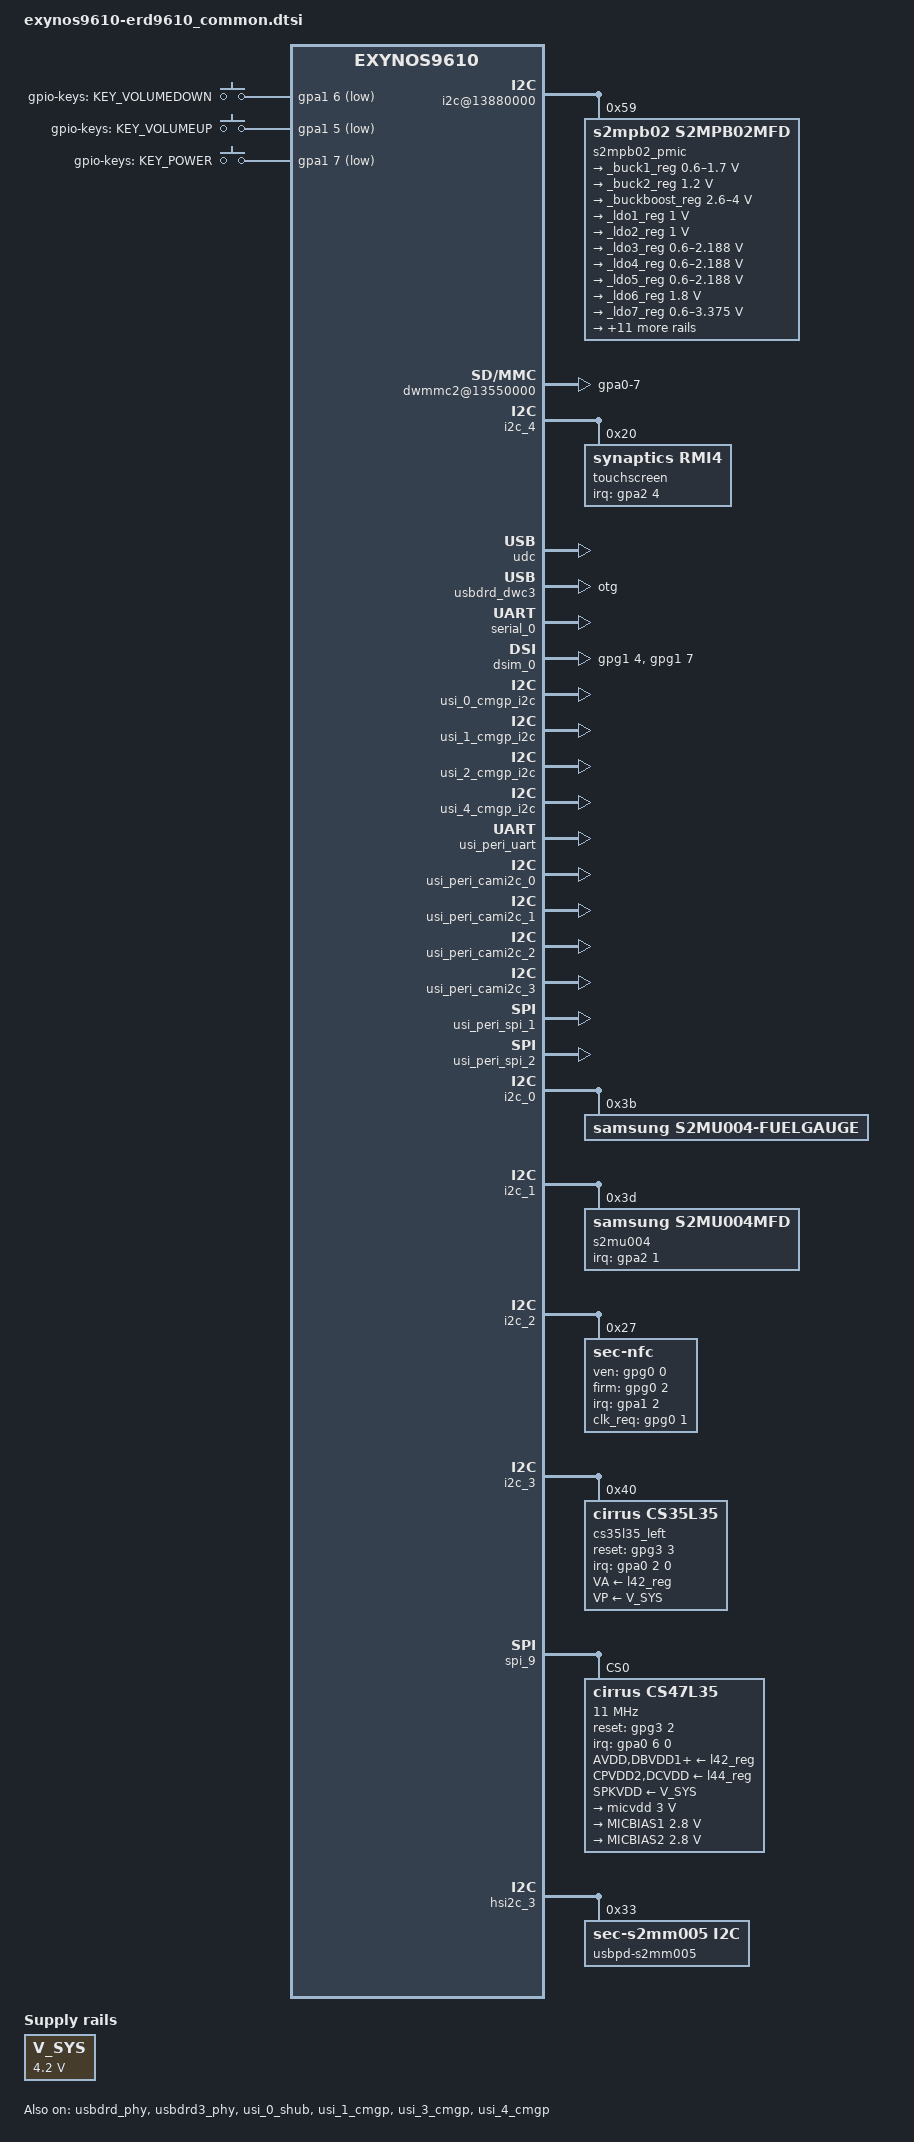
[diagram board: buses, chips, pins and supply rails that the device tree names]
/*
 * SAMSUNG EXYNOS9610 board device tree source
 *
 * Copyright (c) 2017 Samsung Electronics Co., Ltd.
 *		http://www.samsung.com
 *
 * This program is free software; you can redistribute it and/or modify
 * it under the terms of the GNU General Public License version 2 as
 * published by the Free Software Foundation.
 */

#include "exynos9610_battery_data.dtsi"
#include <dt-bindings/clock/exynos9610.h>
#include "modem-ss360ap-sit-pdata.dtsi"
#include "exynos9610-display-lcd.dtsi"
#include "exynos9610-erd9610-camera.dtsi"

/ {
	fragment@common {
		target-path = "/";
		__overlay__ {
			#address-cells = <2>;
			#size-cells = <1>;

			fixed-rate-clocks {
				oscclk {
					compatible = "samsung,exynos9610-oscclk";
					clock-frequency = <26000000>;
				};
			};

			firmware {
				android {
					compatible = "android,firmware";
					vbmeta {
						compatible = "android,vbmeta";
						parts = "vbmeta,boot,system,vendor,dtbo";
					};
					fstab {
						compatible = "android,fstab";
						vendor {
							compatible = "android,vendor";
							dev = "/dev/block/platform/13520000.ufs/by-name/vendor";
							type = "ext4";
							mnt_flags = "ro";
							fsmgr_flags = "wait,avb,slotselect";
						};
					};
				};
			};

			ifconn {
				status = "okay";
				compatible = "samsung,ifconn";
				ifconn,usbpd = "s2mm005";
				ifconn,muic = "s2mu004-muic";
			};

			speedy@11a10000 {
				status = "okay";
				#address-cells = <1>;
				#size-cells = <0>;
				s2mpu09mfd@00 {
					compatible = "samsung,s2mpu09mfd";
					acpm-ipc-channel = <2>;
					i2c-speedy-address;
					s2mpu09,wakeup = "enabled";
					s2mpu09,irq-gpio = <&gpa2 0 0>;
					reg = <0x00>;
					interrupts = <2 0 0>;
					interrupt-parent = <&gpa2>;
					pinctrl-names = "default";
					pinctrl-0 = <&pmic_irq &pm_wrsti>;
					/* RTC: wtsr/smpl */
					wtsr_en = "enabled"; /* enable */
					smpl_en = "enabled"; /* enable */
					wtsr_timer_val = <3>;	/* 1000ms */
					smpl_timer_val = <4>;	/* 500ms */
					check_jigon = <0>; /* do not check jigon */
					/* RTC: If it's first boot, reset rtc to 1/1/2017 12:00:00(Sun) */
					init_time,sec = <0>;
					init_time,min = <0>;
					init_time,hour = <12>;
					init_time,mday = <1>;
					init_time,mon = <0>;
					init_time,year = <117>;
					init_time,wday = <0>;

					regulators {
						b1_reg: BUCK1 {
							regulator-name = "vdd_mif";
							regulator-min-microvolt = <500000>;
							regulator-max-microvolt = <1100000>;
							regulator-always-on;
							regulator-ramp-delay = <12000>;
							regulator-initial-mode = <2>;
						};

						b2_reg: BUCK2 {
							regulator-name = "vdd_cpucl1";
							regulator-min-microvolt = <500000>;
							regulator-max-microvolt = <1300000>;
							regulator-always-on;
							regulator-ramp-delay = <12000>;
							regulator-initial-mode = <1>;
						};

						b3_reg: BUCK3 {
							regulator-name = "vdd_cpucl0";
							regulator-min-microvolt = <500000>;
							regulator-max-microvolt = <1300000>;
							regulator-always-on;
							regulator-ramp-delay = <12000>;
							regulator-initial-mode = <1>;
						};

						b4_reg: BUCK4{
							regulator-name = "vdd_int";
							regulator-min-microvolt = <500000>;
							regulator-max-microvolt = <1100000>;
							regulator-always-on;
							regulator-ramp-delay = <12000>;
							regulator-initial-mode = <2>;
						};

						b5_reg: BUCK5 {
							regulator-name = "vdd_g3d";
							regulator-min-microvolt = <500000>;
							regulator-max-microvolt = <1200000>;
							regulator-always-on;
							regulator-ramp-delay = <12000>;
							regulator-initial-mode = <2>;
						};

						b6_reg: BUCK6 {
							regulator-name = "vdd_cam_vipx";
							regulator-min-microvolt = <500000>;
							regulator-max-microvolt = <1300000>;
							regulator-always-on;
							regulator-ramp-delay = <12000>;
							regulator-initial-mode = <2>;
						};

						b7_reg: BUCK7 {
							regulator-name = "vdd2_mem";
							regulator-min-microvolt = <500000>;
							regulator-max-microvolt = <1300000>;
							regulator-always-on;
							regulator-ramp-delay = <12000>;
							regulator-initial-mode = <3>;
						};

						b8_reg: BUCK8 {
							regulator-name = "vdd_lldo";
							regulator-min-microvolt = <1200000>;
							regulator-max-microvolt = <1500000>;
							regulator-always-on;
							regulator-ramp-delay = <12000>;
							regulator-initial-mode = <3>;
						};

						b9_reg: BUCK9 {
							regulator-name = "vdd_mldo";
							regulator-min-microvolt = <1800000>;
							regulator-max-microvolt = <2100000>;
							regulator-always-on;
							regulator-ramp-delay = <12000>;
							regulator-initial-mode = <3>;
						};

						l1_reg: LDO1 {
							regulator-name = "vdd_ldo1";
							regulator-min-microvolt = <700000>;
							regulator-max-microvolt = <1300000>;
							regulator-always-on;
							regulator-ramp-delay = <12000>;
							regulator-initial-mode = <3>;
						};

						l2_reg: LDO2 {
							regulator-name = "vqmmc";
							regulator-min-microvolt = <1800000>;
							regulator-max-microvolt = <3375000>;
							regulator-ramp-delay = <12000>;
						};

						l3_reg: LDO3 {
							regulator-name = "vdd_ldo3";
							regulator-min-microvolt = <800000>;
							regulator-max-microvolt = <1950000>;
							regulator-always-on;
							regulator-ramp-delay = <12000>;
							regulator-initial-mode = <3>;
						};

						l4_reg: LDO4 {
							regulator-name = "vdd_ldo4";
							regulator-min-microvolt = <500000>;
							regulator-max-microvolt = <1100000>;
							regulator-always-on;
							regulator-ramp-delay = <12000>;
							regulator-initial-mode = <1>;
						};

						l5_reg: LDO5 {
							regulator-name = "vdd_ldo5";
							regulator-min-microvolt = <800000>;
							regulator-max-microvolt = <1300000>;
							regulator-always-on;
							regulator-ramp-delay = <12000>;
							regulator-initial-mode = <1>;
						};

						l6_reg: LDO6 {
							regulator-name = "vdd_ldo6";
							regulator-min-microvolt = <800000>;
							regulator-max-microvolt = <1300000>;
							regulator-always-on;
							regulator-ramp-delay = <12000>;
							regulator-initial-mode = <1>;
						};

						l7_reg: LDO7 {
							regulator-name = "vdd_ldo7";
							regulator-min-microvolt = <800000>;
							regulator-max-microvolt = <1950000>;
							regulator-always-on;
							regulator-ramp-delay = <12000>;
							regulator-initial-mode = <1>;
						};

						l8_reg: LDO8 {
							regulator-name = "vdd_ldo8";
							regulator-min-microvolt = <500000>;
							regulator-max-microvolt = <1300000>;
							regulator-always-on;
							regulator-ramp-delay = <12000>;
							regulator-initial-mode = <1>;
						};

						l9_reg: LDO9 {
							regulator-name = "vdd_ldo9";
							regulator-min-microvolt = <500000>;
							regulator-max-microvolt = <1300000>;
							regulator-always-on;
							regulator-ramp-delay = <12000>;
							regulator-initial-mode = <1>;
						};

						l10_reg: LDO10 {
							regulator-name = "vdd_ldo10";
							regulator-min-microvolt = <500000>;
							regulator-max-microvolt = <1300000>;
							regulator-always-on;
							regulator-ramp-delay = <12000>;
							regulator-initial-mode = <1>;
						};

						l11_reg: LDO11 {
							regulator-name = "vdd_ldo11";
							regulator-min-microvolt = <500000>;
							regulator-max-microvolt = <1300000>;
							regulator-always-on;
							regulator-ramp-delay = <12000>;
							regulator-initial-mode = <1>;
						};

						l12_reg: LDO12 {
							regulator-name = "vdd_ldo12";
							regulator-min-microvolt = <800000>;
							regulator-max-microvolt = <1300000>;
							regulator-always-on;
							regulator-ramp-delay = <12000>;
							regulator-initial-mode = <1>;
						};

						l13_reg: LDO13 {
							regulator-name = "vdd_ldo13";
							regulator-min-microvolt = <800000>;
							regulator-max-microvolt = <1950000>;
							regulator-always-on;
							regulator-ramp-delay = <12000>;
							regulator-initial-mode = <1>;
						};

						l14_reg: LDO14 {
							regulator-name = "vdd_ldo14";
							regulator-min-microvolt = <1800000>;
							regulator-max-microvolt = <3375000>;
							regulator-always-on;
							regulator-ramp-delay = <12000>;
							regulator-initial-mode = <1>;
						};

						l33_reg: LDO33 {
							regulator-name = "vdd_ldo33";
							regulator-min-microvolt = <800000>;
							regulator-max-microvolt = <1950000>;
							regulator-ramp-delay = <12000>;
						};

						l34_reg: LDO34 {
							regulator-name = "vdd_ldo34";
							regulator-min-microvolt = <1800000>;
							regulator-max-microvolt = <3375000>;
							regulator-ramp-delay = <12000>;
						};

						l35_reg: LDO35 {
							regulator-name = "vmmc";
							regulator-min-microvolt = <1800000>;
							regulator-max-microvolt = <3375000>;
							regulator-ramp-delay = <12000>;
						};

						l36_reg: LDO36 {
							regulator-name = "vdd_ldo36";
							regulator-min-microvolt = <500000>;
							regulator-max-microvolt = <1300000>;
							regulator-always-on;
							regulator-ramp-delay = <12000>;
							regulator-initial-mode = <1>;
						};

						l37_reg: LDO37 {
							regulator-name = "vdd_ldo37";
							regulator-min-microvolt = <1620000>;
							regulator-max-microvolt = <1900000>;
							regulator-ramp-delay = <12000>;
							regulator-always-on;
						};

						l38_reg: LDO38 {
							regulator-name = "vdd_ldo38";
							regulator-min-microvolt = <1800000>;
							regulator-max-microvolt = <3375000>;
							regulator-ramp-delay = <12000>;
							regulator-always-on;
						};

						l39_reg: LDO39 {
							regulator-name = "vdd_ldo39";
							regulator-min-microvolt = <800000>;
							regulator-max-microvolt = <1950000>;
							regulator-ramp-delay = <12000>;
							regulator-always-on;
						};

						l40_reg: LDO40 {
							regulator-name = "vdd_ldo40";
							regulator-min-microvolt = <1800000>;
							regulator-max-microvolt = <3375000>;
							regulator-ramp-delay = <12000>;
							regulator-initial-mode = <3>;
							regulator-always-on;
						};

						l41_reg: LDO41 {
							regulator-name = "vdd_ldo41";
							regulator-min-microvolt = <1800000>;
							regulator-max-microvolt = <3375000>;
							regulator-ramp-delay = <12000>;
						};

						l42_reg: LDO42 {
							regulator-name = "vdd_ldo42";
							regulator-min-microvolt = <800000>;
							regulator-max-microvolt = <1950000>;
							regulator-ramp-delay = <12000>;
						};

						l43_reg: LDO43 {
							regulator-name = "vdd_ldo43";
							regulator-min-microvolt = <500000>;
							regulator-max-microvolt = <1300000>;
							regulator-always-on;
							regulator-ramp-delay = <12000>;
							regulator-initial-mode = <1>;
						};

						l44_reg: LDO44 {
							regulator-name = "vdd_ldo44";
							regulator-min-microvolt = <800000>;
							regulator-max-microvolt = <1300000>;
							regulator-ramp-delay = <12000>;
						};
					};
				};
			};

			i2c@13880000 {
				status = "okay";
				#address-cells = <1>;
				#size-cells = <0>;
				s2mpb02_pmic@59 {
					compatible = "s2mpb02,s2mpb02mfd";
					reg = <0x59>;

					s2mpb02,wakeup;
					pinctrl-names = "default";
					pinctrl-0 = <&sub_pmic_irq>;

					regulators {
						_buck1_reg: s2mpb02-buck1 {
							regulator-name = "VDD_EXT_1P3_PB03";
							regulator-min-microvolt = <600000>;
							regulator-max-microvolt = <1700000>;
							regulator-always-on;
							regulator-boot-on;
						};

						_buck2_reg: s2mpb02-buck2 {
							regulator-name = "SVDDD_1.2V";
							regulator-min-microvolt = <1200000>;
							regulator-max-microvolt = <1200000>;
						};

						_buckboost_reg: s2mpb02-bb {
							regulator-name = "VREG_BOOST_BYP";
							regulator-min-microvolt = <2600000>;
							regulator-max-microvolt = <4000000>;
							regulator-always-on;
							regulator-boot-on;
						};

						_ldo1_reg: s2mpb02-ldo1 {
							regulator-name = "VDDD_1.0V_CAM_T";
							regulator-min-microvolt = <1000000>;
							regulator-max-microvolt = <1000000>;
						};

						_ldo2_reg: s2mpb02-ldo2 {
							regulator-name = "VDDD_1.0V_CAM";
							regulator-min-microvolt = <1000000>;
							regulator-max-microvolt = <1000000>;
						};

						_ldo3_reg: s2mpb02-ldo3 {
							regulator-name = "VDDD_1.05V_SUB";
							regulator-min-microvolt = <600000>;
							regulator-max-microvolt = <2187500>;
						};

						_ldo4_reg: s2mpb02-ldo4 {
							regulator-name = "S2MPB02_LDO4";
							regulator-min-microvolt = <600000>;
							regulator-max-microvolt = <2187500>;
						};

						_ldo5_reg: s2mpb02-ldo5 {
							regulator-name = "VDDD_1.05V_VT";
							regulator-min-microvolt = <600000>;
							regulator-max-microvolt = <2187500>;
						};

						_ldo6_reg: s2mpb02-ldo6 {
							regulator-name = "VDDIO_1.8V_CAM_T";
							regulator-min-microvolt = <1800000>;
							regulator-max-microvolt = <1800000>;
						};

						_ldo7_reg: s2mpb02-ldo7 {
							regulator-name = "VDDIO_1.8V_SUB";
							regulator-min-microvolt = <600000>;
							regulator-max-microvolt = <3375000>;
						};

						_ldo8_reg: s2mpb02-ldo8 {
							regulator-name = "VDDIO_1.8V_CAM";
							regulator-min-microvolt = <1800000>;
							regulator-max-microvolt = <1800000>;
						};

						_ldo9_reg: s2mpb02-ldo9 {
							regulator-name = "DOVDD_VT_CAM_1V8";
							regulator-min-microvolt = <1800000>;
							regulator-max-microvolt = <1800000>;
						};

						_ldo10_reg: s2mpb02-ldo10 {
							regulator-name = "VDDD_1.8V_OIS";
							regulator-min-microvolt = <600000>;
							regulator-max-microvolt = <3375000>;
						};

						_ldo11_reg: s2mpb02-ldo11 {
							regulator-name = "VDDA_2.8V_CAM";
							regulator-min-microvolt = <2800000>;
							regulator-max-microvolt = <2800000>;
						};

						_ldo12_reg: s2mpb02-ldo12 {
							regulator-name = "VDDD_2.8V_OIS";
							regulator-min-microvolt = <2800000>;
							regulator-max-microvolt = <2800000>;
						};

						_ldo13_reg: s2mpb02-ldo13 {
							regulator-name = "VDDA_2.8V_CAM_T";
							regulator-min-microvolt = <2800000>;
							regulator-max-microvolt = <2800000>;
						};

						_ldo14_reg: s2mpb02-ldo14 {
							regulator-name = "VDD_VT_CAM_2V8";
							regulator-min-microvolt = <2800000>;
							regulator-max-microvolt = <2800000>;
						};

						_ldo15_reg: s2mpb02-ldo15 {
							regulator-name = "VDDD_2.8V_OIS_T";
							regulator-min-microvolt = <2800000>;
							regulator-max-microvolt = <2800000>;
						};

						_ldo16_reg: s2mpb02-ldo16 {
							regulator-name = "VDD_2.8V_OIS";
							regulator-min-microvolt = <2800000>;
							regulator-max-microvolt = <2800000>;
						};

						_ldo17_reg: s2mpb02-ldo17 {
							regulator-name = "S2MPB02_LDO17";
							regulator-min-microvolt = <600000>;
							regulator-max-microvolt = <3375000>;
						};

						_ldo18_reg: s2mpb02-ldo18 {
							regulator-name = "VDD_PROXY_LED_3P3";
							regulator-min-microvolt = <600000>;
							regulator-max-microvolt = <3375000>;
						};
					};

					torch {
						torch1-gpio = <&gpg3 1 0x1>;
						flash1-gpio = <&gpg3 0 0x1>;

						status = "okay";

						leds1 {
							ledname = "leds-sec1";
							id = <0>;
							brightness = <0xC>; /* (n+1)x100 : 1300mA */
							timeout = <0x7>; /* (n+1)x62.6 : 500ms */
							torch_table_enable = <0>;
						};

						leds2 {
							ledname = "torch-sec1";
							id = <1>;
							brightness = <0xC>; /* (n+1)x20 = 260mA */
							timeout = <0xF>;
							torch_table_enable = <1>;
							torch_table = <2 4 4 5 6 8 9 10 10 12>;
						};
					};
				};
			};

			exynos_rgt {
				compatible = "samsung,exynos-rgt";
			};

			mailbox_cp: mcu_ipc@11920000 {
				compatible = "samsung,exynos-shd-ipc-mailbox";
				reg = <0x0 0x11920000 0x180>;
				mcu,name = "mcu_ipc_cp";
				mcu,id = <0>;
				interrupts = <0 40 0 >;
			};

			mailbox_gnss: mcu_ipc@11A00000 {
				compatible = "samsung,exynos-shd-ipc-mailbox";
				reg = <0x0 0x11A00000 0x180>;
				mcu,name = "mcu_ipc_gnss";
				mcu,id = <1>;
				interrupts = <0 43 0>; /* INTREQ__MAILBOX_GNSS2AP */
			};

			gnss_pdata {
				status = "okay";

				compatible = "samsung,gnss_shdmem_if";
				shmem,name = "KEPLER";
				shmem,device_node_name = "gnss_ipc";

				/* INTREQ__ALIVE_GNSS_ACTIVE, INTREQ__GNSS2AP_WDOG_RESET, INTREQ__GNSS2AP_WAKEUP, INTREQ__GNSS2AP */
				interrupts = <0 27 0>, <0 81 0>, <0 80 0>, <0 79 0>;
				interrupt-names = "ACTIVE", "WATCHDOG", "WAKEUP", "REQ_INIT";

				memory-region = <&gnss_reserved>;
				mbox_info = <&mailbox_gnss>;

				mbx,int_ap2gnss_bcmd = <0>;
				mbx,int_ap2gnss_req_fault_info = <1>;
				mbx,int_ap2gnss_ipc_msg = <2>;
				mbx,int_ap2gnss_ack_wake_set = <3>;
				mbx,int_ap2gnss_ack_wake_clr = <4>;

				mbx,irq_gnss2ap_bcmd = <0>;
				mbx,irq_gnss2ap_rsp_fault_info = <1>;
				mbx,irq_gnss2ap_ipc_msg = <2>;
				mbx,irq_gnss2ap_req_wake_clr = <4>;

				mbx,reg_bcmd_ctrl = <0>, <1>, <2>, <3>;

				reg_rx_ipc_msg = <1 5>;
				reg_tx_ipc_msg = <1 4>;
				reg_rx_head = <1 3>;
				reg_rx_tail = <1 2>;
				reg_tx_head = <1 1>;
				reg_tx_tail = <1 0>;
				fault_info = <1 0x200000 0x180000>;

				shmem,ipc_offset = <0x380000>;
				shmem,ipc_size = <0x80000>;
				shmem,ipc_reg_cnt = <32>;
			};

			gpio_keys {
				status = "okay";
				compatible = "gpio-keys";
				#address-cells = <1>;
				#size-cells = <0>;
				pinctrl-names = "default";
				pinctrl-0 = <&key_voldown &key_volup &key_power>;
				button@1 {
					label = "gpio-keys: KEY_VOLUMEDOWN";
					linux,code = <114>;
					gpios = <&gpa1 6 0xf>;
				};
				button@2 {
					label = "gpio-keys: KEY_VOLUMEUP";
					linux,code = <115>;
					gpios = <&gpa1 5 0xf>;
				};
				button@3 {
					label = "gpio-keys: KEY_POWER";
					linux,code = <116>;
					gpios = <&gpa1 7 0xf>;
					gpio-key,wakeup = <1>;
				};
			};

			dwmmc2@13550000 {
				status = "okay";
				num-slots = <1>;
				supports-4bit;
				supports-cmd23;
				supports-erase;
				supports-highspeed;
				sd-uhs-sdr50;
				sd-uhs-sdr104;
				card-detect-gpio;
				bypass-for-allpass;
				card-init-hwacg-ctrl;
				skip-init-mmc-scan;
				qos-dvfs-level = <100000>;
				fifo-depth = <0x40>;
				desc-size = <4>;
				card-detect-delay = <200>;
				data-timeout = <200>;
				hto-timeout = <80>;
				samsung,dw-mshc-ciu-div = <3>;
				clock-frequency = <800000000>;
				samsung,dw-mshc-sdr-timing = <3 0 2 0>;
				samsung,dw-mshc-ddr-timing = <3 0 2 1>;
				samsung,dw-mshc-sdr50-timing = <3 0 4 2>;
				samsung,dw-mshc-sdr104-timing = <3 0 3 0>;

				num-ref-clks = <9>;
				ciu_clkin = <25 50 50 25 50 100 200 50 50>;

				/* Swapping clock drive strength */
				clk-drive-number = <4>;
				pinctrl-names = "default",
					"fast-slew-rate-1x",
					"fast-slew-rate-2x",
					"fast-slew-rate-3x",
					"fast-slew-rate-4x";
				pinctrl-0 = <&sd2_clk &sd2_cmd &sd2_bus1 &sd2_bus4 &dwmmc2_cd_ext_irq>;
				pinctrl-1 = <&sd2_clk_fast_slew_rate_1x>;
				pinctrl-2 = <&sd2_clk_fast_slew_rate_2x>;
				pinctrl-3 = <&sd2_clk_fast_slew_rate_3x>;
				pinctrl-4 = <&sd2_clk_fast_slew_rate_4x>;

				card-detect = <&gpa0 7 0xf>;
				#address-cells = <1>;
				#size-cells = <0>;
				slot@0 {
					reg = <0>;
					bus-width = <4>;
					disable-wp;
				};
			};

			i2c_4:i2c@13870000 {
				status = "okay";
				#address-cells = <1>;
				#size-cells = <0>;
				touchscreen@20 {
					compatible = "synaptics,rmi4";
					reg = <0x20>;
					pinctrl-names = "on_state", "off_state";
					pinctrl-0 = <&attn_irq>;
					pinctrl-1 = <&attn_input>;
					synaptics,irq_gpio = <&gpa2 4 0>;
					synaptics,irq_type = <8200>;
					synaptics,max_coords = <1440 2560>;     /* x y */
					synaptics,num_lines = <29 16>;          /* rx tx */
					synaptics,regulator_dvdd = "VDDD_1.8V_OIS";
					synaptics,regulator_avdd = "vdd_ldo41";
				};
			};

			usb_notifier {
				compatible = "samsung,usb-notifier";
				udc = <&udc>;
			};

			usb_hs_tune:usb_hs_tune {
				hs_tune_cnt = <12>;

				/* value = <device host> */
				hs_tune1 {
					tune_name = "tx_vref";
					tune_value = <0xf 0xf>;
				};

				hs_tune2 {
					tune_name = "tx_pre_emp";
					tune_value = <0x3 0x3>;
				};

				hs_tune3 {
					tune_name = "tx_pre_emp_plus";
					tune_value = <0x0 0x0>;
				};

				hs_tune4 {
					tune_name = "tx_res";
					tune_value = <0x3 0x3>;
				};

				hs_tune5 {
					tune_name = "tx_rise";
					tune_value = <0x3 0x3>;
				};

				hs_tune6 {
					tune_name = "tx_hsxv";
					tune_value = <0x3 0x3>;
				};

				hs_tune7 {
					tune_name = "tx_fsls";
					tune_value = <0x3 0x3>;
				};

				hs_tune8 {
					tune_name = "rx_sqrx";
					tune_value = <0x7 0x7>;
				};

				hs_tune9 {
					tune_name = "compdis";
					tune_value = <0x7 0x7>;
				};

				hs_tune10 {
					tune_name = "otg";
					tune_value = <0x2 0x2>;
				};

				hs_tune11 {
				/* true : 1, false: 0 */
				/* <enable_user_imp user_imp_value> */
					tune_name = "enable_user_imp";
					tune_value = <0x0 0x0>;
				};

				hs_tune12 {
				/* PHY clk : 1 , FREE clk : 0 */
					tune_name = "is_phyclock";
					tune_value = <0x1 0x1>;
				};
			};

			usb3_ss_tune:ss_tune {
				ss_tune_cnt = <15>;

				/* value = <device host> */
				ss_tune1 {
					tune_name = "tx0_term_offset";
					tune_value = <0x0 0x0>;
				};

				ss_tune2 {
					tune_name = "pcs_tx_swing_full";
					tune_value = <0x7f 0x7f>;
				};

				ss_tune3 {
					tune_name = "pcs_tx_deemph_6db";
					tune_value = <0x1c 0x1c>;
				};

				ss_tune4 {
					tune_name = "pcs_tx_deemph_3p5db";
					tune_value = <0x1c 0x1c>;
				};

				ss_tune5 {
					tune_name = "tx_vboost_lvl_sstx";
					tune_value = <0x7 0x7>;
				};

				ss_tune6 {
					tune_name = "tx_vboost_lvl";
					tune_value = <0x4 0x4>;
				};

				ss_tune7 {
					tune_name = "los_level";
					tune_value = <0x9 0x9>;
				};

				ss_tune8 {
					tune_name = "los_bias";
					tune_value = <0x5 0x5>;
				};

				ss_tune9 {
					tune_name = "pcs_rx_los_mask_val";
					tune_value = <0x104 0x104>;
				};

				ss_tune10 {
					tune_name = "tx_eye_height_cntl_en";
					tune_value = <0x1 0x1>;
				};

				ss_tune11 {
					tune_name = "pipe_tx_deemph_update_delay";
					tune_value = <0x2 0x2>;
				};

				ss_tune12 {
					tune_name = "pcs_tx_swing_full_sstx";
					tune_value = <0x7f 0x7f>;
				};
				ss_tune13 {
					tune_name = "rx_eq_fix_val";
					tune_value = <0x2 0x2>;
				};

				ss_tune14 {
					tune_name = "rx_decode_mode";
					tune_value = <0x1 0x1>;
				};

				ss_tune15 {
					tune_name = "decrese_ss_tx_imp";
					tune_value = <0x1 0x1>;
				};
			};

			usb3_hs_tune:usb3_hs_tune {
				hs_tune_cnt = <10>;

				/* value = <device host> */
				hs_tune1 {
					tune_name = "tx_pre_emp";
					tune_value = <0x3 0x3>;
				};

				hs_tune2 {
					tune_name = "tx_pre_emp_plus";
					tune_value = <0x0 0x0>;
				};

				hs_tune3 {
					tune_name = "tx_vref";
					tune_value = <0x7 0x7>;
				};

				hs_tune4 {
					tune_name = "rx_sqrx";
					tune_value = <0x7 0x7>;
				};

				hs_tune5 {
					tune_name = "tx_rise";
					tune_value = <0x3 0x3>;
				};

				hs_tune6 {
					tune_name = "compdis";
					tune_value = <0x7 0x7>;
				};

				hs_tune7 {
					tune_name = "tx_hsxv";
					tune_value = <0x3 0x3>;
				};

				hs_tune8 {
					tune_name = "tx_fsls";
					tune_value = <0x3 0x3>;
				};

				hs_tune9 {
					tune_name = "tx_res";
					tune_value = <0x3 0x3>;
				};

				hs_tune10 {
					tune_name = "utim_clk";
					tune_value = <0x1 0x1>;
				};
			};

			/* Secure RPMB */
			ufs-srpmb {
				compatible = "samsung,ufs-srpmb";
				interrupts = <0 460 0>;
			};

			V_SYS: fixedregulator@1 {
				compatible = "regulator-fixed";
				regulator-name = "V_SYS";
				regulator-min-microvolt = <4200000>;
				regulator-max-microvolt = <4200000>;
				regulator-boot-on;
				regulator-always-on;
			};

			dummy_audio_codec: audio_codec_dummy {
				status = "okay";
				compatible = "snd-soc-dummy";
			};

			dummy_audio_cpu: audio_cpu_dummy {
				compatible = "samsung,dummy-cpu";
				status = "okay";
			};

			sound {
				status = "okay";
				compatible = "samsung,exynos9610-madera";

				clock-names = "xclkout";
				clocks = <&clock OSC_AUD>;
				pinctrl-names = "default";
				pinctrl-0 = <&xclkout0>;

				cirrus,sysclk = <1 4 98304000>;
				cirrus,dspclk = <8 4 147456000>;
				cirrus,fll1-refclk = <1 0 26000000 98304000>;

				cirrus,opclk = <3 0 12288000>;

				samsung,routing =
					"HEADSETMIC", "MICBIAS2B",
					"MICBIAS2A", "MICBIAS2B",
					"IN1BL", "HEADSETMIC",
					"DMIC1", "MICBIAS1A",
					"IN1AL", "DMIC1",
					"DMIC2", "MICBIAS1B",
					"IN2L", "DMIC2",
					"RECEIVER", "EPOUTN",
					"RECEIVER", "EPOUTP",
					"HEADPHONE", "HPOUTL",
					"HEADPHONE", "HPOUTR",
					"AIF2 Playback", "OPCLK",
					"AIF2 Capture", "OPCLK",
					"VOUTPUT", "ABOX UAIF0 Playback",
					"SPEAKER", "Left SPK",
					"VOUTPUTCALL", "ABOX SIFS0 Playback",
					"ABOX SIFS0 Capture", "VINPUTCALL";

				samsung,codec = <&abox &abox_uaif_0 &abox_uaif_1 &abox_uaif_2
					&abox_uaif_4 &abox_dsif &abox_spdy &cs35l35_left>;
				samsung,prefix = "ABOX", "ABOX", "ABOX", "ABOX",
					"ABOX", "ABOX", "ABOX", "Left";
				samsung,aux = <&abox_effect &abox_bt>;

				rdma@0 {
					cpu {
						sound-dai = <&abox 0>;
					};
					platform {
						sound-dai = <&abox_rdma_0>;
					};
					codec {
						sound-dai = <&dummy_audio_codec>;
					};
				};
				rdma@1 {
					cpu {
						sound-dai = <&abox 1>;
					};
					platform {
						sound-dai = <&abox_rdma_1>;
					};
					codec {
						sound-dai = <&dummy_audio_codec>;
					};
				};
				rdma@2 {
					cpu {
						sound-dai = <&abox 2>;
					};
					platform {
						sound-dai = <&abox_rdma_2>;
					};
					codec {
						sound-dai = <&dummy_audio_codec>;
					};
				};
				rdma@3 {
					cpu {
						sound-dai = <&abox 3>;
					};
					platform {
						sound-dai = <&abox_rdma_3>;
					};
					codec {
						sound-dai = <&dummy_audio_codec>;
					};
				};
				rdma@4 {
					cpu {
						sound-dai = <&abox 4>;
					};
					platform {
						sound-dai = <&abox_rdma_4>;
					};
					codec {
						sound-dai = <&dummy_audio_codec>;
					};
				};
				rdma@5 {
					cpu {
						sound-dai = <&abox 5>;
					};
					platform {
						sound-dai = <&abox_rdma_5>;
					};
					codec {
						sound-dai = <&dummy_audio_codec>;
					};
				};
				rdma@6 {
					cpu {
						sound-dai = <&abox 6>;
					};
					platform {
						sound-dai = <&abox_rdma_6>;
					};
					codec {
						sound-dai = <&dummy_audio_codec>;
					};
				};
				rdma@7 {
					cpu {
						sound-dai = <&abox 7>;
					};
					platform {
						sound-dai = <&abox_rdma_7>;
					};
					codec {
						sound-dai = <&dummy_audio_codec>;
					};
				};
				wdma@0 {
					cpu {
						sound-dai = <&abox 8>;
					};
					platform {
						sound-dai = <&abox_wdma_0>;
					};
					codec {
						sound-dai = <&dummy_audio_codec>;
					};
				};
				wdma@1 {
					cpu {
						sound-dai = <&abox 9>;
					};
					platform {
						sound-dai = <&abox_wdma_1>;
					};
					codec {
						sound-dai = <&dummy_audio_codec>;
					};
				};
				wdma@2 {
					cpu {
						sound-dai = <&abox 10>;
					};
					platform {
						sound-dai = <&abox_wdma_2>;
					};
					codec {
						sound-dai = <&dummy_audio_codec>;
					};
				};
				wdma@3 {
					cpu {
						sound-dai = <&abox 11>;
					};
					platform {
						sound-dai = <&abox_wdma_3>;
					};
					codec {
						sound-dai = <&dummy_audio_codec>;
					};
				};
				wdma@4 {
					cpu {
						sound-dai = <&abox 12>;
					};
					platform {
						sound-dai = <&abox_wdma_4>;
					};
					codec {
						sound-dai = <&dummy_audio_codec>;
					};
				};
/** ToDo: enable dp_audio link after enabling DP Audio
 *		dp_audio@0 {
 *			cpu {
 *				sound-dai = <&dummy_audio_cpu>;
 *			};
 *			codec {
 *				sound-dai = <&dummy_audio_codec>;
 *			};
 *		};
 */
				uaif@0 {
					format = "i2s";
					cpu {
						sound-dai = <&abox_uaif_0>;
					};
					codec {
						sound-dai = <&cs47l35 0>;
					};
				};
				uaif@1 {
					format = "i2s";
					cpu {
						sound-dai = <&abox_uaif_1>;
					};
					codec {
						sound-dai = <&dummy_audio_codec>;
					};
				};
				uaif@2 {
					format = "i2s";
					cpu {
						sound-dai = <&abox_uaif_2>;
					};
					codec {
						sound-dai = <&cs47l35 2>;
					};
				};
				uaif@4 {
					format = "i2s";
					bitclock-master;
					frame-master;
					cpu {
						sound-dai = <&abox_uaif_4>;
					};
					codec {
						sound-dai = <&dummy_audio_codec>;
					};
				};
				dsif@0 {
					format = "pdm";
					cpu {
						sound-dai = <&abox_dsif>;
					};
					codec {
						sound-dai = <&dummy_audio_codec>;
					};
				};
				spdy@0 {
					cpu {
						sound-dai = <&abox_spdy>;
					};
					codec {
						sound-dai = <&dummy_audio_codec>;
					};
				};
				sifs0@0 {
					cpu {
						sound-dai = <&abox 13>;
					};
					codec {
						sound-dai = <&dummy_audio_codec>;
					};
				};
				sifs1@0 {
					cpu {
						sound-dai = <&abox 14>;
					};
					codec {
						sound-dai = <&dummy_audio_codec>;
					};
				};
				sifs2@0 {
					cpu {
						sound-dai = <&abox 15>;
					};
					codec {
						sound-dai = <&dummy_audio_codec>;
					};
				};
				codec-left-amp@0 {
					format = "i2s";

					cpu {
						sound-dai = <&cs47l35 1>;
					};
					codec {
						sound-dai = <&cs35l35_left 0>;
					};
				};
			};
		}; /* end of __overlay__ */
	}; /* end of fragment */
}; /* end of root */

&udc {
	status = "okay";
};

&usbdrd_dwc3 {
	dr_mode = "otg";
	maximum-speed = "super-speed";
};

&usbdrd_phy {
	status = "okay";
	hs_tune_param = <&usb_hs_tune>;
};

&usbdrd3_phy {
	status = "okay";
	hs_tune_param = <&usb3_hs_tune>;
	ss_tune_param = <&usb3_ss_tune>;
};

&serial_0 {
	status = "okay";
};

&dsim_0 {
	lcd_info = <&s6e3fa0_vid>;
	/* reset */
	gpios = <&gpg1 4 0x1>, <&gpg1 7 0x1>;
};

/* USI_0_SHUB */
&usi_0_shub {
	usi_v2_mode = "spi";
	status = "okay";
};

/* USI_SHUB_0_I2C */
&usi_0_shub_i2c {
	/*	usi_v2_mode = "i2c" or "spi" or "uart"	*/
	status = "disabled";
};

/* USI_0_CMGP */
&usi_0_cmgp {
	/*	usi_v2_mode = "i2c" or "spi" or "uart"	*/
	status = "disabled";
};

/* USI_0_CMGP_I2C */
&usi_0_cmgp_i2c {
	usi_v2_mode = "i2c";
	status = "okay";
};

/* USI_1_CMGP */
&usi_1_cmgp {
	usi_v2_mode = "i2c";
	status = "okay";
};

/* USI_1_CMGP_I2C */
&usi_1_cmgp_i2c {
	usi_v2_mode = "i2c";
	status = "okay";
};

/* USI_2_CMGP */
&usi_2_cmgp {
	/*	usi_v2_mode = "i2c" or "spi" or "uart"	*/
	status = "disabled";
};

/* USI_2_CMGP_I2C */
&usi_2_cmgp_i2c {
	usi_v2_mode = "i2c";
	status = "okay";
};

/* USI_3_CMGP */
&usi_3_cmgp {
	usi_v2_mode = "spi";
	status = "okay";
};

/* USI_3_CMGP_I2C */
&usi_3_cmgp_i2c {
	/*	usi_v2_mode = "i2c" or "spi" or "uart"	*/
	status = "disabled";
};

/* USI_4_CMGP */
&usi_4_cmgp {
	usi_v2_mode = "i2c";
	status = "okay";
};

/* USI_4_CMGP_I2C */
&usi_4_cmgp_i2c {
	usi_v2_mode = "i2c";
	status = "okay";
};

/* USI_PERI_UART */
&usi_peri_uart {
	usi_v2_mode = "uart";
	status = "okay";
};

/* USI_PERI_CAMI2C_0 */
&usi_peri_cami2c_0 {
	usi_v2_mode = "i2c";
	status = "okay";
};

/* USI_PERI_CAMI2C_1 */
&usi_peri_cami2c_1 {
	usi_v2_mode = "i2c";
	status = "okay";
};

/* USI_PERI_CAMI2C_2 */
&usi_peri_cami2c_2 {
	usi_v2_mode = "i2c";
	status = "okay";
};

/* USI_PERI_CAMI2C_3 */
&usi_peri_cami2c_3 {
	usi_v2_mode = "i2c";
	status = "okay";
};

/* USI_PERI_SPI_0 */
&usi_peri_spi_0 {
	/*	usi_v2_mode = "i2c" or "spi" or "uart"	*/
	status = "disabled";
};

/* USI_PERI_SPI_1 */
&usi_peri_spi_1 {
	usi_v2_mode = "spi";
	status = "okay";
};

/* USI_PERI_USI_0 */
&usi_peri_usi_0 {
	/*	usi_v2_mode = "i2c" or "spi" or "uart"	*/
	status = "disabled";
};

/* USI_PERI_USI_0_I2C */
&usi_peri_usi_0_i2c {
	/*	usi_v2_mode = "i2c" or "spi" or "uart"	*/
	status = "disabled";
};

/* USI_PERI_SPI_2 */
&usi_peri_spi_2 {
	usi_v2_mode = "spi";
	status = "okay";
};


&pinctrl_0 {
	pmic_irq: pmic-irq {
		samsung,pins = "gpa2-0";
		samsung,pin-pud = <3>;
		samsung,pin-drv = <3>;
	};

	sub_pmic_irq: sub-pmic-irq {
		samsung,pins = "gpa1-3";
		samsung,pin-function = <0>;
		samsung,pin-pud = <0>;
		samsung,pin-drv = <0>;
	};

	usbpd_irq: usbpd-irq {
		samsung,pins = "gpa1-1";
		samsung,pin-function = <0xf>;
		samsung,pin-pud = <3>;
		samsung,pin-drv = <3>;
	};

	if_pmic_irq: if-pmic-irq {
		samsung,pins = "gpa2-1";
		samsung,pin-function = <0>;
		samsung,pin-pud = <0>;
		samsung,pin-drv = <0>;
	};

	fuel_irq: fuel-irq {
		samsung,pins = "gpa2-3";
		samsung,pin-function = <0>;
		samsung,pin-pud = <0>;
		samsung,pin-drv = <0>;
	};

	key_voldown: key-voldown {
		samsung,pins = "gpa1-6";
		samsung,pin-function = <0xf>;
		samsung,pin-pud = <0>;
		samsung,pin-drv = <0>;
	};

	key_volup: key-volup {
		samsung,pins = "gpa1-5";
		samsung,pin-function = <0xf>;
		samsung,pin-pud = <0>;
		samsung,pin-drv = <0>;
	};

	key_power: key-power {
		samsung,pins = "gpa1-7";
		samsung,pin-function = <0xf>;
		samsung,pin-pud = <0>;
		samsung,pin-drv = <0>;
	};

	dwmmc2_cd_ext_irq: dwmmc2_cd_ext_irq {
		samsung,pins = "gpa0-7";
		samsung,pin-function = <0xf>;
		samsung,pin-pud = <3>;
		samsung,pin-drv = <3>;
	};

	attn_irq: attn-irq {
		samsung,pins = "gpa2-4";
		samsung,pin-function = <0xf>;
		samsung,pin-pud = <0>;
		samsung,pin-drv = <0>;
	};

	attn_input: attn-input {
		samsung,pins = "gpa2-4";
		samsung,pin-function = <0>;
		samsung,pin-pud = <1>;
	};

	amp_irq: amp-irq {
		samsung,pins ="gpa0-2";
		samsung,pin-function = <0xf>;
		samsung,pin-pud = <0>;
	};
};

&pinctrl_4 {
	/* Warm reset information from AP */
	pm_wrsti: pm-wrsti {
		samsung,pins = "gpg0-7";
		samsung,pin-con-pdn = <3>;
	};

	amp_reset: amp-reset {
		samsung,pins ="gpg3-3";
		samsung,pin-pud = <0>;
		samsung,pin-con-pdn =<3>;
		samsung,pin-pud-pdn = <0>;
	};

	codec_reset: codec-reset {
		samsung,pins ="gpg3-2";
		samsung,pin-pud = <0>;
		samsung,pin-con-pdn =<3>;
		samsung,pin-pud-pdn = <0>;
	};

	nfc_pd: nfc-pd {
		samsung,pins ="gpg0-0";
		samsung,pin-con-pdn =<3>;
		samsung,pin-pud-pdn = <0>;
	};
};

&i2c_0 {
	#address-cells = <1>;
	#size-cells = <0>;
	status = "okay";
	s2mu004-fuelgauge@3B {
		compatible = "samsung,s2mu004-fuelgauge";
		reg = <0x3B>;
		pinctrl-names = "default";
		pinctrl-0 = <&fuel_irq>;
		fuelgauge,fuel_int = <&gpa2 3 0>;
		fuelgauge,fuel_alert_soc = <1>;
		fuelgauge,capacity_max = <1000>;
		fuelgauge,capacity_max_margin = <70>;
		fuelgauge,capacity_min = <0>;
		fuelgauge,capacity_calculation_type = <28>;
		fuelgauge,type_str = "SDI";
		fuelgauge,model_type = <1>;
	};
};

&i2c_1 {
	#address-cells = <1>;
	#size-cells = <0>;
	status = "okay";
	s2mu004@3d {
		compatible = "samsung,s2mu004mfd";
		reg = <0x3d>;
		pinctrl-names = "default";
		pinctrl-0 = <&if_pmic_irq>;
		s2mu004,irq-gpio = <&gpa2 1 0>;
		s2mu004,wakeup;
	};

	muic {
		status = "okay";
		muic,uart_addr = "11850000.pinctrl";
		muic,uart_rxd = "gpq0-3";
		muic,uart_txd = "gpq0-4";
	};

	s2mu004-charger {
		status = "okay";
		battery,charger_name = "s2mu004-charger";
		battery,chg_gpio_en = <0>;
		battery,chg_polarity_en = <0>;
		battery,chg_gpio_status = <0>;
		battery,chg_polarity_status = <0>;
		battery,chg_float_voltage = <4350>;
		battery,chg_recharge_vcell = <4250>;
		battery,chg_full_vcell = <4300>;
		battery,full_check_type = <2>;
		battery,full_check_type_2nd = <2>;
		battery,input_current_limit = <
			500 450 500 1200 500 1200 1200 1000 1000 1000
			1000 500 500 1200 1000 500 450>;
		battery,fast_charging_current =	<
			500 450 500 1200 500 1200 1200 1000 1000 1000
			1000 500 500 1200 1000 500 450>;
		battery,full_check_current_1st = <
			300 0 300 300 300 300 300 300 300 300
			300 300 300 300 300 300 0>;
		battery,full_check_current_2nd = <
			100 0 100 100 100 100 100 100 100 100
			100 100 100 100 100 100 0>;
	};
};

&i2c_2 {
	#address-cells = <1>;
	#size-cells = <0>;
	status = "okay";
	samsung,i2c-max-bus-freq = <600000>;

	sec-nfc@27 {
		compatible = "sec-nfc";
		reg = <0x27>;

		sec-nfc,ven-gpio = <&gpg0 0 0>;
		sec-nfc,firm-gpio = <&gpg0 2 0>;

		sec-nfc,irq-gpio = <&gpa1 2 0>;
		sec-nfc,clk_req-gpio = <&gpg0 1 0>;

		clock-names = "OSC_NFC";
		clocks = <&clock OSC_NFC>;
		pinctrl-names = "default";
		pinctrl-0 = <&xclkout1 &nfc_pd>;
	};
};

&i2c_3 {
	status = "okay";
	#address-cells = <1>;
	#size-cells = <0>;
	cs35l35_left: cs35l35@40 {
		#sound-dai-cells = <1>;
		compatible = "cirrus,cs35l35";
		reg = <0x40>;

		pinctrl-names = "default";
		pinctrl-0 = <&amp_irq &amp_reset>;

		interrupt-parent = <&gpa0>;
		interrupts = <2 0 0>;

		reset-gpios = <&gpg3 3 0>;

		VA-supply = <&l42_reg>;
		VP-supply = <&V_SYS>;
		cirrus,audio-channel = <0x0>;
		cirrus,boost-ctl-millivolt = <7300>;
		cirrus,sp-drv-strength = <0x1>;
		cirrus,sp-drv-unused = <0x0>;
		cirrus,boost-ind-nanohenry = <1000>;

		cirrus,monitor-signal-format {
			cirrus,imon = /bits/ 8 <0x03 0x04 0x00 0x06>;
			cirrus,vmon = /bits/ 8 <0x03 0x00 0x00>;
			cirrus,vpmon = /bits/ 8 <0x00 0x00 0x00>;
			cirrus,vbstmon = /bits/ 8 <0x00 0x00 0x00>;
			cirrus,vpbrstat = /bits/ 8 <0x00 0x00 0x00>;
			cirrus,zerofill = /bits/ 8 <0x00 0x00 0x00>;
		};
	};
};

&spi_9 {
	pinctrl-names = "default";
	pinctrl-0 = <&spi9_bus &spi9_cs_func>;
	status = "okay";
	#address-cells = <1>;
	#size-cells = <0>;
	cs47l35: cs47l35@0 {
		compatible = "cirrus,cs47l35";
		reg = <0x0>;

		spi-max-frequency = <11000000>;

		interrupts = <6 0 0>;
		interrupt-controller;
		#interrupt-cells = <2>;
		interrupt-parent = <&gpa0>;
		gpio-controller;
		#gpio-cells = <2>;
		#sound-dai-cells = <1>;

		AVDD-supply = <&l42_reg>;
		DBVDD1-supply = <&l42_reg>;
		DBVDD2-supply = <&l42_reg>;
		CPVDD1-supply = <&l42_reg>;
		CPVDD2-supply = <&l44_reg>;
		DCVDD-supply = <&l44_reg>;
		SPKVDD-supply = <&V_SYS>;

		reset-gpios = <&gpg3 2 0>;

		cirrus,dmic-ref = <0 0 0>;
		cirrus,inmode = <
			0 0 0 0 /* IN1 */
			0 0 0 0 /* IN2 */
		>;

		cirrus,gpsw = <3 0>;

		pinctrl-names = "probe", "active";
		pinctrl-0 = <&codec_reset>;
		pinctrl-1 = <&codec_reset &cs47l35_defaults>;

		madera_pinctrl: madera-pinctrl {
			compatible = "cirrus,madera-pinctrl";
			cs47l35_defaults: cs47l35-gpio-defaults {
				aif1 {
					groups = "aif1";
					function = "aif1";
					bias-bus-hold;
				};

				aif2 {
					groups = "aif2";
					function = "aif2";
					bias-bus-hold;
				};

				aif3 {
					groups = "aif3";
					function = "aif3";
					bias-bus-hold;
				};

				gpio6 { /* Amp Clock */
					groups = "gpio6";
					function = "opclk";
					bias-pull-up;
					output-low;
				};

				gpio5 { /* Mic Polarity Flip */
					groups = "gpio5";
					function = "io";
				};
			};
		};

		micvdd {
			regulator-min-microvolt = <3000000>;
			regulator-max-microvolt = <3000000>;
		};

		MICBIAS1 {
			regulator-min-microvolt = <2800000>;
			regulator-max-microvolt = <2800000>;
			cirrus,ext-cap = <1>;
		};
		MICBIAS1A {
			regulator-active-discharge = <1>;
		};
		MICBIAS1B {
			regulator-active-discharge = <1>;
		};

		MICBIAS2 {
			regulator-min-microvolt = <2800000>;
			regulator-max-microvolt = <2800000>;
			cirrus,ext-cap = <1>;
		};
		MICBIAS2B {
			regulator-active-discharge = <1>;
		};

		cirrus,accdet {
			#address-cells = <1>;
			#size-cells = <0>;

			acc@1 {
				reg = <1>;

				cirrus,micd-configs = <
					0 0 3 0 0
				>;
				cirrus,micd-bias-start-time = <8>;
				cirrus,micd-rate = <6>;
				cirrus,micd-pol-gpios = <&cs47l35 4 0>;
				cirrus,micd-detect-debounce-ms = <500>;
				cirrus,jd-use-jd2;
				cirrus,micd-clamp-mode = <0x8>;
			};
		};

		controller-data {
			samsung,spi-feedback-delay = <1>;
			samsung,spi-chip-select-mode = <0>;
		};
	};
};

&fmp_0 {
	exynos,block-type = "sda";
	exynos,fips-block_offset = <5>;
};

&contexthub_0 {
	/* chub irq pin lists */
	clocks =
		/* SHUB */
		<&clock UMUX_CLKCMU_SHUB_BUS>,
		/* RPR0521, LIS3MDL */
		<&clock CMGP01_USI>,
		/* BMP280 */
		<&clock CMGP03_USI>,
		/* PRP0521, LIS3MDL, BMP280 are all I2C */
		<&clock CMGP_I2C>;
	clock-names =
		"chub_bus",
		"cmgp_usi01",
		"cmgp_usi03",
		"cmgp_i2c";
};

&hsi2c_3 {
	#address-cells = <1>;
	#size-cells = <0>;
	status = "okay";
	usbpd-s2mm005@33 {
		compatible = "sec-s2mm005,i2c";
		reg = <0x33>;
		pinctrl-names = "default";
		pinctrl-0 = <&usbpd_irq>;
		interrupt-parent = <&gpa1>;
		usbpd,usbpd_int = <&gpa1 1 0>;
	};

	usbpd-manager {
		/* sink */
		pdic,max_power = <5000>;
		pdic,op_power = <2500>;
		pdic,max_voltage = <9000>;
		pdic,max_current = <2000>;
		pdic,min_current = <500>;

		pdic,giveback = <0>;
		pdic,usb_com_capable = <1>;
		pdic,no_usb_suspend = <1>;

		/* source */
		source,max_voltage = <5000>;
		source,min_voltage = <4000>;
		source,max_power = <2500>;

		/* sink cap */
		sink,capable_max_voltage = <9000>;
	};
};
